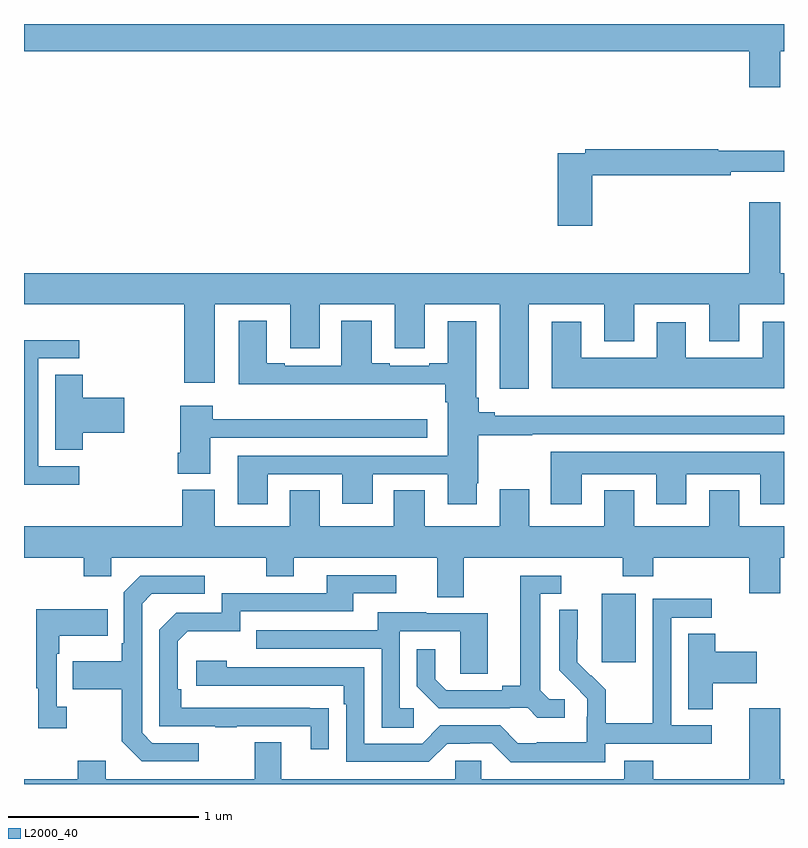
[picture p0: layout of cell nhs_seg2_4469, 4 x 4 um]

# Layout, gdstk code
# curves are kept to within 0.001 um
import gdstk
lib = gdstk.Library(unit=1e-6, precision=1e-09)
def R(c, l, rs):  # rectangles x0, y0, x1, y1
    for r in rs: c.add(gdstk.rectangle(r[:2], r[2:], *l))
def P(c, l, *ps):  # polygons
    for p in ps: c.add(gdstk.Polygon(p, *l))
L2000_40 = (2000, 40)

nhs_seg2_4469 = lib.new_cell('nhs_seg2_4469')
R(nhs_seg2_4469, L2000_40, [(356.042,624.441,356.221,624.802)])
P(nhs_seg2_4469, L2000_40, [(356.98,627.656),(357,627.656),(357,627.8),(353,627.8),(353,627.656),(356.816,627.656),(356.816,627.468),(356.98,627.468)],
  [(355.991,627.004),(356.72,627.004),(356.72,627.023),(357,627.023),(357,627.133),(356.654,627.133),(356.654,627.14),(355.954,627.14),(355.954,627.12),(355.808,627.12),(355.808,626.739),(355.991,626.739)],
  [(355.657,626.324),(356.054,626.324),(356.054,626.13),(356.212,626.13),(356.212,626.324),(356.606,626.324),(356.606,626.13),(356.764,626.13),(356.764,626.324),(357,626.324),(357,626.488),(356.98,626.488),(356.98,626.863),(356.816,626.863),(356.816,626.488),(353,626.488),(353,626.324),(353.843,626.324),(353.843,625.911),(354.004,625.911),(354.004,626.324),(354.401,626.324),(354.401,626.094),(354.556,626.094),(354.556,626.324),(354.95,626.324),(354.95,626.094),(355.108,626.094),(355.108,626.324),(355.505,626.324),(355.505,625.881),(355.657,625.881)],
  [(354.283,625.431),(354.674,625.431),(354.674,625.275),(354.835,625.275),(354.835,625.431),(355.229,625.431),(355.229,625.272),(355.384,625.272),(355.384,625.384),(355.392,625.384),(355.392,625.636),(355.676,625.636),(355.676,625.641),(357,625.641),(357,625.738),(355.477,625.738),(355.477,625.757),(355.394,625.757),(355.394,625.834),(355.381,625.834),(355.381,626.236),(355.229,626.236),(355.229,626.014),(355.133,626.014),(355.133,626.001),(354.925,626.001),(354.925,626.014),(354.829,626.014),(354.829,626.239),(354.671,626.239),(354.671,626.001),(354.373,626.001),(354.373,626.014),(354.277,626.014),(354.277,626.239),(354.131,626.239),(354.131,625.904),(355.217,625.904),(355.217,625.808),(355.229,625.808),(355.229,625.527),(354.125,625.527),(354.125,625.272),(354.283,625.272)],
  [(357,626.233),(356.888,626.233),(356.888,626.044),(356.482,626.044),(356.482,626.23),(356.33,626.23),(356.33,626.044),(355.933,626.044),(355.933,626.233),(355.778,626.233),(355.778,625.883),(357,625.883)],
  [(353.29,625.473),(353.076,625.473),(353.076,626.04),(353.29,626.04),(353.29,626.136),(353,626.136),(353,625.375),(353.29,625.375)],
  [(353.309,625.649),(353.527,625.649),(353.527,625.832),(353.309,625.832),(353.309,625.955),(353.165,625.955),(353.165,625.558),(353.309,625.558)],
  [(353.98,625.623),(355.123,625.623),(355.123,625.721),(353.993,625.721),(353.993,625.792),(353.822,625.792),(353.822,625.543),(353.81,625.543),(353.81,625.433),(353.98,625.433)],
  [(355.936,625.43),(356.327,625.43),(356.327,625.272),(356.485,625.272),(356.485,625.43),(356.876,625.43),(356.876,625.272),(357,625.272),(357,625.549),(355.772,625.549),(355.772,625.272),(355.936,625.272)],
  [(355.315,624.992),(356.152,624.992),(356.152,624.893),(356.312,624.893),(356.312,624.992),(356.816,624.992),(356.816,624.804),(356.98,624.804),(356.98,624.992),(357,624.992),(357,625.156),(356.764,625.156),(356.764,625.345),(356.606,625.345),(356.606,625.156),(356.212,625.156),(356.212,625.345),(356.054,625.345),(356.054,625.156),(355.66,625.156),(355.66,625.351),(355.505,625.351),(355.505,625.156),(355.108,625.156),(355.108,625.346),(354.947,625.346),(354.947,625.156),(354.556,625.156),(354.556,625.346),(354.398,625.346),(354.398,625.156),(354.004,625.156),(354.004,625.348),(353.834,625.348),(353.834,625.156),(353,625.156),(353,624.992),(353.314,624.992),(353.314,624.893),(353.46,624.893),(353.46,624.992),(354.274,624.992),(354.274,624.893),(354.421,624.893),(354.421,624.992),(355.175,624.992),(355.175,624.784),(355.315,624.784)],
  [(354.605,624.2),(353.828,624.201),(353.828,624.298),(353.808,624.298),(353.808,624.552),(353.861,624.605),(354.138,624.605),(354.138,624.708),(354.733,624.708),(354.733,624.804),(354.958,624.804),(354.958,624.9),(354.593,624.9),(354.593,624.804),(354.042,624.804),(354.042,624.702),(353.802,624.702),(353.712,624.612),(353.712,624.105),(354.007,624.105),(354.007,624.1),(354.119,624.1),(354.119,624.105),(354.509,624.105),(354.509,623.982),(354.605,623.982)],
  [(353.92,624.015),(353.676,624.015),(353.622,624.069),(353.622,624.75),(353.673,624.801),(353.95,624.801),(353.95,624.897),(353.613,624.897),(353.526,624.81),(353.526,624.541),(353.514,624.541),(353.514,624.445),(353.257,624.445),(353.257,624.298),(353.514,624.298),(353.514,624.025),(353.619,623.919),(353.92,623.919)],
  [(355.846,624.246),(355.764,624.246),(355.717,624.293),(355.717,624.801),(355.828,624.801),(355.828,624.897),(355.613,624.897),(355.613,624.317),(355.517,624.317),(355.517,624.294),(355.222,624.294),(355.165,624.351),(355.165,624.508),(355.068,624.508),(355.068,624.314),(355.184,624.198),(355.556,624.198),(355.556,624.201),(355.65,624.201),(355.702,624.149),(355.846,624.149)],
  [(356.058,624.012),(356.62,624.012),(356.62,624.108),(356.406,624.108),(356.406,624.675),(356.62,624.675),(356.62,624.774),(356.31,624.774),(356.31,624.344),(356.308,624.344),(356.308,624.121),(356.063,624.121),(356.063,624.295),(355.986,624.372),(355.983,624.369),(355.913,624.44),(355.914,624.716),(355.818,624.716),(355.818,624.398),(355.964,624.25),(355.964,624.153),(355.962,624.153),(355.962,624.019),(355.699,624.019),(355.699,624.015),(355.599,624.015),(355.506,624.108),(355.191,624.108),(355.095,624.012),(354.792,624.012),(354.792,624.414),(354.068,624.414),(354.068,624.448),(353.907,624.448),(353.907,624.318),(354.683,624.318),(354.683,624.221),(354.696,624.221),(354.696,623.916),(355.131,623.916),(355.227,624.012),(355.346,624.012),(355.346,624.015),(355.461,624.015),(355.561,623.915),(356.058,623.915)],
  [(353.224,624.206),(353.172,624.206),(353.172,624.485),(353.185,624.485),(353.185,624.581),(353.441,624.581),(353.441,624.721),(353.064,624.721),(353.064,624.305),(353.075,624.305),(353.075,624.093),(353.224,624.093)],
  [(355.051,624.198),(354.978,624.198),(354.978,624.603),(355.296,624.603),(355.296,624.379),(355.441,624.379),(355.441,624.699),(355.117,624.699),(355.117,624.703),(354.863,624.703),(354.863,624.609),(354.223,624.609),(354.223,624.513),(354.882,624.513),(354.882,624.097),(355.051,624.097)],
  [(356.626,624.329),(356.857,624.329),(356.857,624.495),(356.639,624.495),(356.639,624.59),(356.495,624.59),(356.495,624.193),(356.626,624.193)],
  [(357,623.824),(356.98,623.824),(356.98,624.199),(356.816,624.199),(356.816,623.824),(356.312,623.824),(356.312,623.923),(356.159,623.923),(356.159,623.824),(355.407,623.824),(355.407,623.922),(355.269,623.922),(355.269,623.824),(354.355,623.824),(354.355,624.019),(354.215,624.019),(354.215,623.824),(353.431,623.824),(353.431,623.923),(353.284,623.923),(353.284,623.824),(353,623.824),(353,623.8),(357,623.8)])

lib.write_gds('nhs_seg2_4469.gds')
